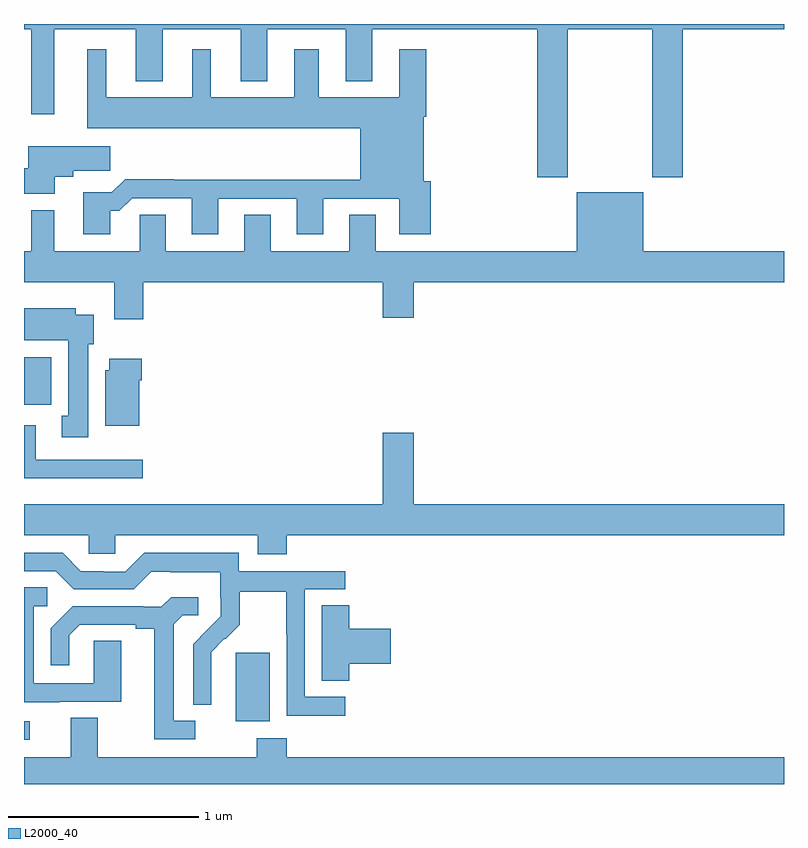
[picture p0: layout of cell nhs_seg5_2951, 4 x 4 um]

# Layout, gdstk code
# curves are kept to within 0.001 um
import gdstk
lib = gdstk.Library(unit=1e-6, precision=1e-09)
def R(c, l, rs):  # rectangles x0, y0, x1, y1
    for r in rs: c.add(gdstk.rectangle(r[:2], r[2:], *l))
def P(c, l, *ps):  # polygons
    for p in ps: c.add(gdstk.Polygon(p, *l))
L2000_40 = (2000, 40)

nhs_seg5_2951 = lib.new_cell('nhs_seg5_2951')
R(nhs_seg5_2951, L2000_40, [(283,841.032,283.03,841.128), (284.114,841.13,284.293,841.491), (283,842.796,283.143,843.046)])
P(nhs_seg5_2951, L2000_40, [(285.861,844.772),(286.306,844.772),(286.306,843.993),(286.466,843.993),(286.466,844.772),(287,844.772),(287,844.799),(283,844.799),(283,844.772),(283.038,844.772),(283.038,844.323),(283.159,844.323),(283.159,844.772),(283.589,844.772),(283.589,844.499),(283.729,844.499),(283.729,844.772),(284.141,844.772),(284.141,844.499),(284.281,844.499),(284.281,844.772),(284.693,844.772),(284.693,844.499),(284.833,844.499),(284.833,844.772),(285.701,844.772),(285.701,843.993),(285.861,843.993)],
  [(283.453,843.815),(283.502,843.815),(283.569,843.882),(283.883,843.882),(283.883,843.693),(284.023,843.693),(284.023,843.879),(284.435,843.879),(284.435,843.693),(284.575,843.693),(284.575,843.879),(284.975,843.879),(284.975,843.693),(285.14,843.693),(285.14,843.972),(285.103,843.972),(285.103,844.31),(285.116,844.31),(285.116,844.666),(284.975,844.666),(284.975,844.414),(284.551,844.414),(284.551,844.666),(284.423,844.666),(284.423,844.414),(283.984,844.414),(283.984,844.666),(283.886,844.666),(283.886,844.414),(283.432,844.414),(283.432,844.666),(283.334,844.666),(283.334,844.25),(284.771,844.25),(284.771,843.98),(283.787,843.98),(283.787,843.983),(283.532,843.983),(283.462,843.913),(283.313,843.913),(283.313,843.693),(283.453,843.693)],
  [(283.162,843.995),(283.258,843.995),(283.258,844.027),(283.453,844.027),(283.453,844.156),(283.022,844.156),(283.022,844.04),(283,844.04),(283,843.905),(283.162,843.905)],
  [(283.628,843.44),(284.888,843.44),(284.888,843.252),(285.052,843.252),(285.052,843.44),(287,843.44),(287,843.604),(286.258,843.604),(286.258,843.913),(285.908,843.913),(285.908,843.604),(284.851,843.604),(284.851,843.794),(284.711,843.794),(284.711,843.604),(284.299,843.604),(284.299,843.794),(284.159,843.794),(284.159,843.604),(283.747,843.604),(283.747,843.794),(283.608,843.794),(283.608,843.604),(283.159,843.604),(283.159,843.82),(283.038,843.82),(283.038,843.604),(283,843.604),(283,843.44),(283.475,843.44),(283.475,843.246),(283.628,843.246)],
  [(283.339,843.114),(283.366,843.114),(283.366,843.268),(283.273,843.268),(283.273,843.304),(283,843.304),(283,843.134),(283.232,843.134),(283.232,842.737),(283.199,842.737),(283.199,842.625),(283.339,842.625)],
  [(283.606,842.924),(283.619,842.924),(283.619,843.037),(283.448,843.037),(283.448,842.976),(283.427,842.976),(283.427,842.684),(283.606,842.684)],
  [(283.624,842.505),(283.063,842.505),(283.063,842.686),(283,842.686),(283,842.408),(283.624,842.408)],
  [(283,842.108),(283.341,842.108),(283.341,842.01),(283.479,842.01),(283.479,842.108),(284.231,842.108),(284.231,842.009),(284.384,842.009),(284.384,842.108),(287,842.108),(287,842.272),(285.052,842.272),(285.052,842.647),(284.888,842.647),(284.888,842.272),(283,842.272)],
  [(284.692,841.257),(284.478,841.257),(284.478,841.824),(284.692,841.824),(284.692,841.92),(284.13,841.92),(284.13,842.017),(283.633,842.017),(283.533,841.917),(283.418,841.917),(283.418,841.92),(283.299,841.92),(283.203,842.016),(283,842.016),(283,841.92),(283.167,841.92),(283.263,841.824),(283.578,841.824),(283.671,841.917),(283.771,841.917),(283.771,841.913),(284.034,841.913),(284.034,841.779),(284.036,841.779),(284.036,841.682),(283.89,841.534),(283.89,841.216),(283.986,841.216),(283.985,841.493),(284.055,841.563),(284.058,841.56),(284.135,841.637),(284.135,841.812),(284.38,841.812),(284.38,841.588),(284.382,841.588),(284.382,841.159),(284.692,841.159)],
  [(283.189,841.233),(283.513,841.233),(283.513,841.553),(283.368,841.553),(283.368,841.329),(283.05,841.329),(283.05,841.734),(283.123,841.734),(283.123,841.835),(283,841.835),(283,841.229),(283.189,841.229)],
  [(283.9,841.131),(283.789,841.131),(283.789,841.639),(283.836,841.686),(283.918,841.686),(283.918,841.783),(283.774,841.783),(283.722,841.731),(283.628,841.731),(283.628,841.734),(283.256,841.734),(283.14,841.618),(283.14,841.425),(283.237,841.425),(283.237,841.581),(283.294,841.638),(283.589,841.638),(283.589,841.616),(283.685,841.616),(283.685,841.035),(283.9,841.035)],
  [(284.711,841.433),(284.929,841.433),(284.929,841.616),(284.711,841.616),(284.711,841.739),(284.567,841.739),(284.567,841.342),(284.711,841.342)],
  [(284.384,841.039),(284.224,841.039),(284.224,840.94),(283.387,840.94),(283.387,841.148),(283.247,841.148),(283.247,840.94),(283,840.94),(283,840.799),(287,840.799),(287,840.94),(284.384,840.94)])

lib.write_gds('nhs_seg5_2951.gds')
